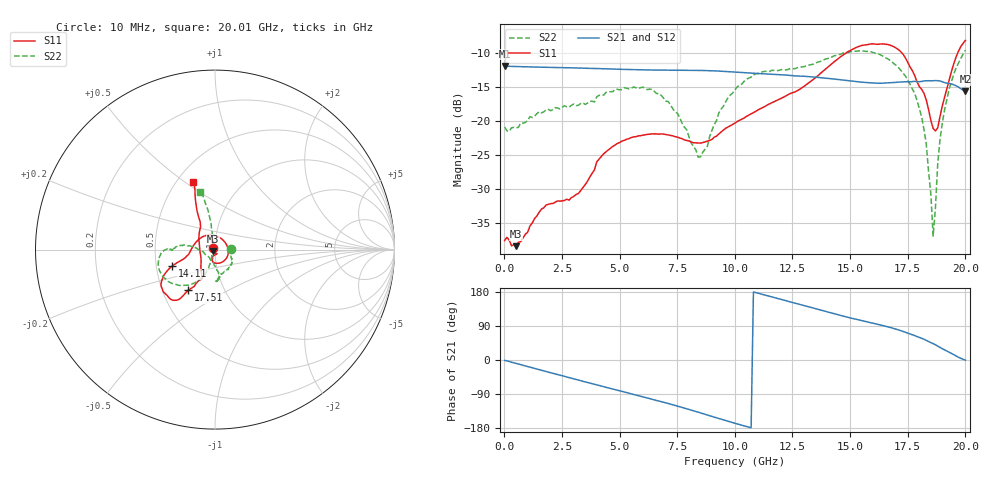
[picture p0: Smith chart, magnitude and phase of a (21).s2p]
! Hittite Microwave Corporation
! 2 Elizabeth Drive
! Chelmsford, MA 01824
! http://www.hittite.com
! Tel: 978-250-3343
! Fax: 978-250-3373
! Device:  HMC424LP3
! Description: 0.5 dB GaAs MMIC 6-Bit Digital Attenuator
! Frequency:  DC -  13.00 GHz
! Package:  LP3  - 3x3 mm Quad Flatpack No-Lead (QFN) Plastic Package: 16 pin
! Ports:  2 RF, 7 DC
!  Pad  1  = Ground
!  Pad  2  = RF IN  = Port 1
!  Pad  3  = Ground
!  Pad  4  = V6
!  Pad  5  = V5
!  Pad  6  = V4
!  Pad  7  = V3
!  Pad  8  = V2
!  Pad  9  = V1
!  Pad 10  = Ground
!  Pad 11  = RF OUT  = Port 2
!  Pad 12  = Ground
!  Pad 15  = VEE
! Control:  -5 Volt control voltage
! State:  19
! Attenuation:  9.5 dB
! Voltages:  Vdd = -5.00 Volts  Idd =  -2.554 mA
!  V1  = -5.00 Volts  I1  =  -1.0 uA
!  V2  = -5.00 Volts  I2  =  -1.0 uA
!  V3  = 0.00 Volts  I3  =  29.0 uA
!  V4  = 0.00 Volts  I4  =  30.0 uA
!  V5  = -5.00 Volts  I5  =  -1.0 uA
!  V6  = 0.00 Volts  I6  =  30.0 uA
! Data:  The device was measured on evaluation board 105354-1.
!  Data was collected using a calibrated network analyzer.
!  The evaluation circuit board was modeled and simulated.  This was use
!  to removed the evaluation board circuit from the measured data.
!  The reference plane is the edge of the package pin.
! Misc:  Lot xxxx, Unit 1
!  Application 20120001, Data collected in Application 20090083
! Date Measured:  2009-09-15
! Date:  2012-05-14  MJV
! Note:
!  Hittite supplies this data as a sample of measured data at the package pin
!  for this product.  Your particular data for this product may vary.
!  Data was taken at 25 degrees C.
!  Hittite reserves the right to change this data at anytime.
# GHz S MA R 50
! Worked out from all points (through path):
!   201 points, 10 MHz to 20.01 GHz, reference 50 ohm
!   highest |S21| = -11.87 dB at 10 MHz (marker M1); lowest = -15.6 dB at 20.01 GHz (marker M2)
!   group delay of S21, straight-line fit = 47.3 ps
!   lowest |S11| = -38.5 dB at 510 MHz (marker M3), VSWR 1.02, Z = 49 - j0.69 ohm
!   |S11| at or under -10 dB: start of sweep to 14.8 GHz; 17.27 GHz to 19.67 GHz (2.401 GHz wide, 13 % of centre)
!   |S22| runs from -37.0 to -9.5 dB; largest |S21 - S12| = 0.0031
!   S11 on the Smith chart (normalised r, x): 10 MHz: 0.98, +0.02; 14.11 GHz: 0.60, -0.12; 17.51 GHz: 0.68, -0.33; 20.01 GHz: 0.60, +0.53
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0.01  0.0131 136.1  0.2548 -1.1  0.2548 -1.8  0.09042 3.1
0.51  0.01191 -143.8  0.2527 -9.1  0.2525 -9.1  0.08885 -13.4
1.61  0.0224 -70.4  0.25 -27.1  0.2499 -27.1  0.1149 -33.3
3.41  0.03225 -97.2  0.246 -56.1  0.2458 -56.1  0.1361 -63.8
4.71  0.06508 -102.9  0.2423 -76.7  0.242 -76.7  0.165 -84.8
6.71  0.08011 -47.6  0.2381 -108.1  0.2377 -108.1  0.1598 -83.1
7.51  0.07611 -12.4  0.2379 -121.6  0.2373 -121.5  0.1143 -85.2
8.41  0.06889 37.9  0.2366 -137.7  0.2364 -137.7  0.05417 -124.5
10.01  0.09666 129.1  0.2301 -167.0  0.2297 -167.0  0.1704 171.4
10.91  0.1179 164.6  0.2251 177.9  0.2246 177.9  0.223 177.3
13.41  0.203 -162.1  0.2117 136.9  0.2113 136.9  0.2634 179.2
14.11  0.2567 -158.8  0.2062 125.3  0.2058 125.3  0.2931 -177.3
15.41  0.3571 -147.3  0.1945 105.4  0.1943 105.4  0.3303 -160.5
16.71  0.3654 -129.3  0.1915 86.5  0.1913 86.5  0.2831 -135.3
17.51  0.2712 -123.3  0.1947 70.9  0.1944 71.0  0.2005 -118.7
18.21  0.1607 -117.3  0.1977 54.8  0.1975 54.8  0.08703 -109.7
18.51  0.1013 -139.7  0.1982 46.0  0.198 46.0  0.02905 -128.7
18.61  0.08816 -153.4  0.1986 43.2  0.1983 43.2  0.01414 -175.2
18.81  0.08924 165.5  0.1987 36.5  0.1985 36.5  0.04881 101.9
19.11  0.1509 122.2  0.1922 26.6  0.1918 26.6  0.122 99.4
19.51  0.2665 113.1  0.1853 13.8  0.1849 13.8  0.2235 100.0
20.01  0.3939 108.3  0.1662 -0.4  0.1663 -0.5  0.3338 104.2
